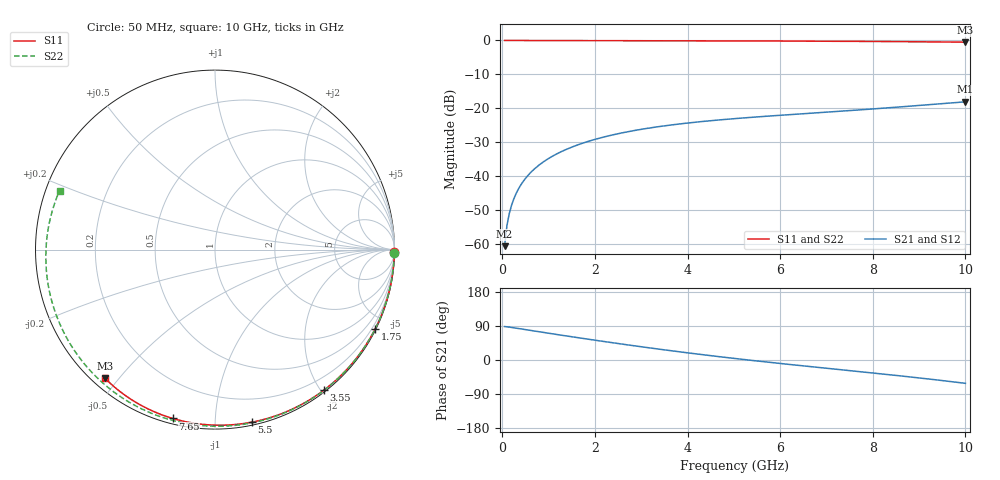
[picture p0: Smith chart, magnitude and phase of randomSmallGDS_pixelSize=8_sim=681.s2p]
! freq	dB(S11)	phase(S11)	dB(S12)	phase(S12)
!  dB(S21)	phase(S21)	dB(S22)	phase(S22)
!S-par simulation data
#  GHz  S  DB  R 50
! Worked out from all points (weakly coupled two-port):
!   200 points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, 50 MHz to 10 GHz, reference 50 ohm
!   highest |S21| = -18.08 dB at 10 GHz (marker M1); lowest = -60.6 dB at 50 MHz (marker M2)
!   lowest |S11| = -0.5 dB at 10 GHz (marker M3), VSWR 34.30, Z = 1.77 - j23 ohm
!   |S11| at or under -10 dB: nowhere
!   |S22| runs from -0.7 to 0.0 dB; largest |S21 - S12| = 0
!   S11 on the Smith chart (normalised r, x): 50 MHz: open; 1.75 GHz: 0.04, -4.28; 3.55 GHz: 0.02, -2.05; 5.5 GHz: 0.02, -1.23; 7.65 GHz: 0.02, -0.78; 10 GHz: 0.04, -0.46
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0.05  -0.00 -0.8  -60.60 88.2  -60.60 88.2  -0.00 -1.2
0.1  -0.00 -1.5  -54.56 87.7  -54.56 87.7  -0.00 -2.4
0.15  -0.00 -2.3  -51.04 86.8  -51.04 86.8  -0.00 -3.5
0.2  -0.00 -3.1  -48.54 85.9  -48.54 85.9  -0.01 -4.7
0.25  -0.01 -3.8  -46.61 85.0  -46.61 85.0  -0.01 -5.8
0.35  -0.01 -5.3  -43.71 83.1  -43.71 83.1  -0.01 -8.2
0.5  -0.01 -7.6  -40.65 80.2  -40.65 80.2  -0.02 -11.6
0.7  -0.01 -10.6  -37.77 76.3  -37.77 76.3  -0.02 -16.2
1  -0.02 -15.2  -34.76 70.6  -34.76 70.6  -0.03 -23.1
1.35  -0.03 -20.4  -32.28 64.1  -32.28 64.1  -0.04 -31.1
1.75  -0.04 -26.3  -30.19 56.7  -30.19 56.7  -0.05 -40.1
2.6  -0.06 -38.7  -27.18 41.7  -27.18 41.7  -0.08 -58.5
3.4  -0.08 -50.0  -25.34 28.4  -25.34 28.4  -0.11 -75.2
3.55  -0.08 -52.1  -25.07 26.0  -25.07 26.0  -0.12 -78.2
4.3  -0.10 -62.3  -23.90 14.4  -23.90 14.4  -0.15 -93.1
5.05  -0.13 -72.2  -22.99 3.6  -22.99 3.6  -0.18 -107.4
5.5  -0.15 -78.0  -22.52 -2.6  -22.52 -2.6  -0.21 -115.8
6.7  -0.21 -92.9  -21.40 -18.0  -21.40 -18.0  -0.29 -137.6
7.65  -0.27 -104.1  -20.52 -29.9  -20.52 -29.9  -0.37 -154.8
8.35  -0.32 -112.1  -19.83 -38.7  -19.83 -38.7  -0.44 -167.8
9.2  -0.41 -121.7  -18.92 -50.0  -18.92 -50.0  -0.55 175.7
10  -0.51 -130.5  -18.08 -61.6  -18.08 -61.6  -0.66 159.2
